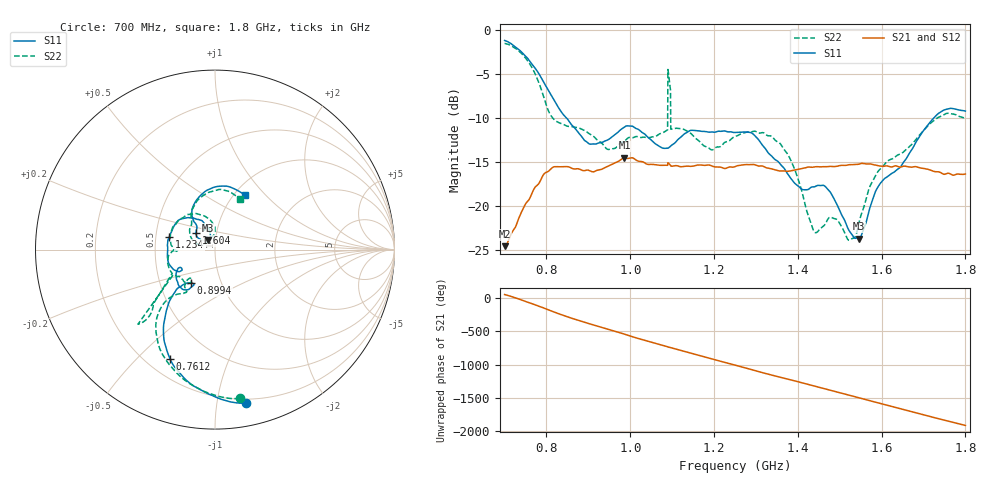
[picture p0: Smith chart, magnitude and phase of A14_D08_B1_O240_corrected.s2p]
! Created with skrf 1.9.0 (http://scikit-rf.org).
# Hz S RI R 50.0
!freq ReS11 ImS11 ReS21 ImS21 ReS12 ImS12 ReS22 ImS22
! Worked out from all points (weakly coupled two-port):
!   1601 points, 700 MHz to 1.8 GHz, reference 50 ohm
!   highest |S21| = -14.51 dB at 986 MHz (marker M1); lowest = -24.6 dB at 700.7 MHz (marker M2)
!   lowest |S11| = -23.7 dB at 1.546 GHz (marker M3), VSWR 1.14, Z = 46.1 + j4.96 ohm
!   |S11| at or under -10 dB: 848.1 MHz to 1.724 GHz (876.3 MHz wide, 68.1 % of centre)
!   |S22| runs from -23.9 to -1.5 dB; largest |S21 - S12| = 0.0037
!   S11 on the Smith chart (normalised r, x): 700 MHz: 0.17, -1.21; 761.2 MHz: 0.29, -0.63; 899.4 MHz: 0.72, -0.28; 1.234 GHz: 0.59, +0.09; 1.604 GHz: 0.79, +0.15; 1.8 GHz: 1.12, +0.77
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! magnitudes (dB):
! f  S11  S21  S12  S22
! 700 MHz  -1.2  -24.6  -24.3  -1.5
! 700.7 MHz  -1.2  -24.6  -24.3  -1.5
! 761.2 MHz  -3.6  -19.0  -18.9  -3.9
! 814.1 MHz  -7.6  -15.6  -15.7  -9.9
! 883.6 MHz  -12.1  -15.9  -15.8  -11.3
! 899.4 MHz  -12.8  -15.9  -16.0  -11.7
! 986 MHz  -11.0  -14.5  -14.6  -12.6
! 1.067 GHz  -13.1  -15.4  -15.3  -11.9
! 1.084 GHz  -13.4  -15.4  -15.4  -11.5
! 1.095 GHz  -13.2  -15.3  -15.4  -6.6
! 1.102 GHz  -13.0  -15.5  -15.4  -11.2
! 1.234 GHz  -11.6  -15.6  -15.6  -12.7
! 1.25 GHz  -11.6  -15.5  -15.5  -12.1
! 1.359 GHz  -15.3  -16.0  -16.0  -12.9
! 1.434 GHz  -17.8  -15.6  -15.6  -22.3
! 1.472 GHz  -18.1  -15.5  -15.5  -21.5
! 1.524 GHz  -22.9  -15.3  -15.3  -23.9
! 1.546 GHz  -23.7  -15.2  -15.2  -21.8
! 1.604 GHz  -17.0  -15.5  -15.5  -15.4
! 1.617 GHz  -16.5  -15.5  -15.5  -14.8
! 1.734 GHz  -9.5  -16.1  -16.2  -10.0
! 1.8 GHz  -9.2  -16.4  -16.4  -10.0
